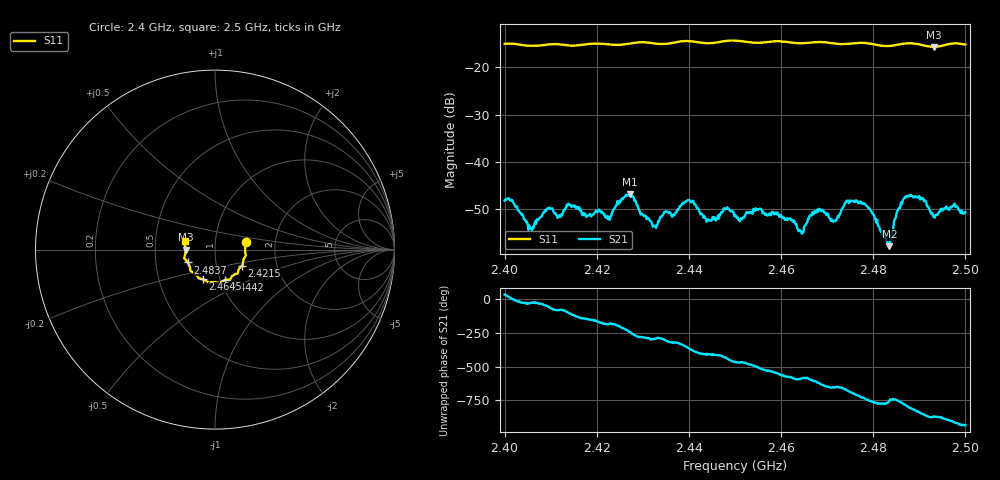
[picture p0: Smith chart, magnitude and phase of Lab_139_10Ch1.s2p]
# Hz S RI R 50
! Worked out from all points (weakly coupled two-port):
!   601 points, 2.4 GHz to 2.5 GHz, reference 50 ohm
!   highest |S21| = -46.83 dB at 2.4272 GHz (marker M1); lowest = -57.7 dB at 2.4835 GHz (marker M2)
!   lowest |S11| = -15.7 dB at 2.4932 GHz (marker M3), VSWR 1.39, Z = 35.9 - j0.0454 ohm
!   |S11| at or under -10 dB: start of sweep to end of sweep
!   S12 and S22 are empty: the file has one direction only
!   S11 on the Smith chart (normalised r, x): 2.4 GHz: 1.41, +0.12; 2.4215 GHz: 1.33, -0.25; 2.4442 GHz: 1.05, -0.37; 2.4645 GHz: 0.83, -0.29; 2.4837 GHz: 0.73, -0.11; 2.5 GHz: 0.71, +0.07
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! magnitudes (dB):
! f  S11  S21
! 2.4 GHz  -15.1  -48.1
! 2.4057 GHz  -15.5  -53.9
! 2.4093 GHz  -15.2  -49.8
! 2.4167 GHz  -15.3  -50.5
! 2.4215 GHz  -15.1  -51.1
! 2.4272 GHz  -15.0  -46.8
! 2.4333 GHz  -15.1  -52.5
! 2.4397 GHz  -14.5  -48.1
! 2.4442 GHz  -15.0  -52.1
! 2.45 GHz  -14.4  -51.1
! 2.4553 GHz  -14.9  -49.9
! 2.4645 GHz  -15.0  -55.1
! 2.4667 GHz  -14.8  -51.3
! 2.4715 GHz  -15.0  -52.5
! 2.4743 GHz  -15.1  -48.1
! 2.4775 GHz  -14.9  -48.5
! 2.4833 GHz  -15.6  -57.3
! 2.4835 GHz  -15.5  -57.7
! 2.4837 GHz  -15.5  -56.7
! 2.4872 GHz  -15.0  -47.2
! 2.4932 GHz  -15.7  -51.5
! 2.5 GHz  -15.3  -50.6
